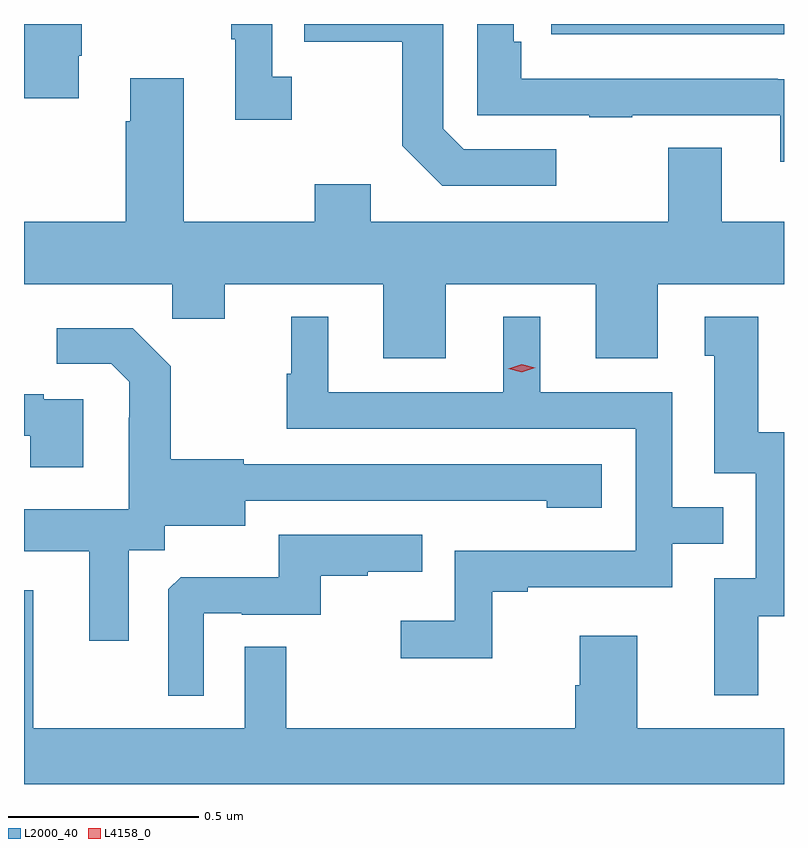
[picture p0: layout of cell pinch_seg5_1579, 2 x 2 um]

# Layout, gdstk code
import gdstk
lib = gdstk.Library(unit=1e-6, precision=1e-09)
def R(c, l, rs):  # rectangles x0, y0, x1, y1
    for r in rs: c.add(gdstk.rectangle(r[:2], r[2:], *l))
def P(c, l, *ps):  # polygons
    for p in ps: c.add(gdstk.Polygon(p, *l))
L2000_40 = (2000, 40)
L4158_0 = (4158, 0)

pinch_seg5_1579 = lib.new_cell('pinch_seg5_1579')
R(pinch_seg5_1579, L2000_40, [(269.991,845.43,270.603,845.457)])
P(pinch_seg5_1579, L2000_40, [(270.603,845.312),(270.587,845.312),(270.587,845.313),(269.912,845.313),(269.912,845.41),(269.892,845.41),(269.892,845.457),(269.796,845.457),(269.796,845.217),(270.091,845.217),(270.091,845.212),(270.203,845.212),(270.203,845.217),(270.593,845.217),(270.593,845.094),(270.603,845.094)],
  [(270.004,845.127),(269.76,845.127),(269.706,845.181),(269.706,845.457),(269.341,845.457),(269.341,845.41),(269.598,845.41),(269.598,845.137),(269.703,845.031),(270.004,845.031)],
  [(269.308,845.318),(269.256,845.318),(269.256,845.457),(269.148,845.457),(269.148,845.417),(269.159,845.417),(269.159,845.205),(269.308,845.205)],
  [(268.747,845.374),(268.755,845.374),(268.755,845.457),(268.603,845.457),(268.603,845.262),(268.747,845.262)],
  [(269.713,844.772),(270.107,844.772),(270.107,844.578),(270.271,844.578),(270.271,844.772),(270.603,844.772),(270.603,844.936),(270.439,844.936),(270.439,845.131),(270.299,845.131),(270.299,844.936),(269.515,844.936),(269.515,845.035),(269.368,845.035),(269.368,844.936),(269.023,844.936),(269.023,845.314),(268.883,845.314),(268.883,845.201),(268.871,845.201),(268.871,844.936),(268.603,844.936),(268.603,844.772),(268.993,844.772),(268.993,844.682),(269.131,844.682),(269.131,844.772),(269.549,844.772),(269.549,844.578),(269.713,844.578)],
  [(270.535,843.898),(270.603,843.898),(270.603,844.383),(270.535,844.383),(270.535,844.687),(270.395,844.687),(270.395,844.584),(270.419,844.584),(270.419,844.275),(270.528,844.275),(270.528,843.999),(270.419,843.999),(270.419,843.69),(270.535,843.69)],
  [(269.835,843.963),(269.929,843.963),(269.929,843.975),(270.309,843.975),(270.309,844.089),(270.443,844.089),(270.443,844.185),(270.309,844.185),(270.309,844.488),(269.962,844.488),(269.962,844.687),(269.864,844.687),(269.864,844.488),(269.404,844.488),(269.404,844.687),(269.306,844.687),(269.306,844.536),(269.295,844.536),(269.295,844.392),(270.213,844.392),(270.213,844.071),(269.736,844.071),(269.736,843.886),(269.595,843.886),(269.595,843.788),(269.835,843.788)],
  [(268.879,844.072),(268.974,844.072),(268.974,844.136),(269.185,844.136),(269.185,844.203),(269.743,844.203),(269.743,844.202),(269.979,844.202),(269.979,844.184),(270.124,844.184),(270.124,844.299),(269.181,844.299),(269.181,844.312),(268.989,844.312),(268.989,844.557),(268.889,844.657),(268.689,844.657),(268.689,844.563),(268.833,844.563),(268.88,844.516),(268.88,844.421),(268.878,844.421),(268.878,844.18),(268.603,844.18),(268.603,844.07),(268.775,844.07),(268.775,843.834),(268.879,843.834)],
  [(268.759,844.47),(268.655,844.47),(268.655,844.483),(268.603,844.483),(268.603,844.374),(268.619,844.374),(268.619,844.29),(268.759,844.29)],
  [(269.076,843.906),(269.176,843.906),(269.176,843.903),(269.384,843.903),(269.384,844.005),(269.507,844.005),(269.507,844.016),(269.651,844.016),(269.651,844.113),(269.274,844.113),(269.274,844.001),(269.015,844.001),(268.983,843.969),(268.983,843.689),(269.076,843.689)],
  [(270.603,843.604),(270.217,843.604),(270.217,843.847),(270.065,843.847),(270.065,843.717),(270.053,843.717),(270.053,843.604),(269.293,843.604),(269.293,843.818),(269.184,843.818),(269.184,843.604),(268.627,843.604),(268.627,843.967),(268.603,843.967),(268.603,843.457),(270.603,843.457)])
P(pinch_seg5_1579, L4158_0, [(269.913,844.541),(269.877,844.55),(269.877,844.55),(269.877,844.55),(269.913,844.561),(269.949,844.552),(269.949,844.552),(269.949,844.552)])

lib.write_gds('pinch_seg5_1579.gds')
